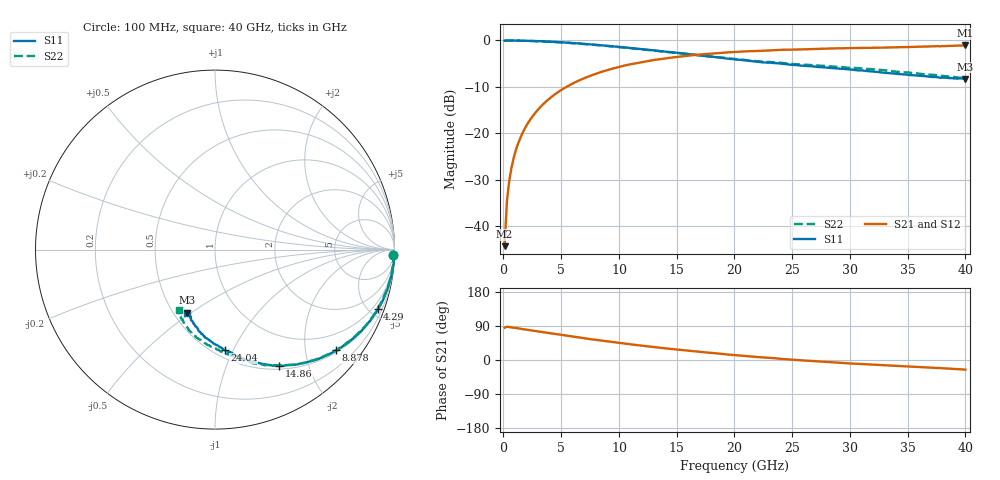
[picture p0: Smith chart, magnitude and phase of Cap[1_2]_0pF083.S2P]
!  2-Port S-parameters saved by WinCal
! VAR NAME=Cap[1_2]_0pF083
! VAR FILENAME=Cap[1_2]_0pF083.S2P
! VAR DATE=2/4/2010 3:24:30 PM
! VAR PHYS_PORTS=1,2
! VAR ObjTypeName=DATASETasd
! VAR IndexType=Frequency
# Hz S MA R 50
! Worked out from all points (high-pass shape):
!   201 points, 100 MHz to 40 GHz, reference 50 ohm
!   highest |S21| = -1.08 dB at 40 GHz (marker M1); lowest = -44.3 dB at 100 MHz (marker M2)
!   |S21| within 3 dB of the highest: 13.4 GHz to end of sweep
!   lowest |S11| = -8.3 dB at 40 GHz (marker M3), VSWR 2.25, Z = 29.1 - j24 ohm
!   |S11| at or under -10 dB: nowhere
!   |S22| runs from -8.1 to 0.0 dB; largest |S21 - S12| = 0.026
!   S11 on the Smith chart (normalised r, x): 100 MHz: 12, -60; 4.29 GHz: 0.56, -5.57; 8.878 GHz: 0.55, -2.66; 14.86 GHz: 0.54, -1.56; 24.04 GHz: 0.57, -0.92; 40 GHz: 0.58, -0.48
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1e8  0.9934 -1.8  0.006124 85.2  0.006306 88.9  0.9926 -1.7
2.995e8  0.9993 -1.4  0.01854 87.8  0.01857 87.8  0.9974 -1.5
4.99e8  0.998 -2.4  0.03072 87.0  0.03081 87.0  0.9965 -2.5
6.985e8  0.9984 -3.3  0.04299 86.1  0.04306 86.1  0.9962 -3.4
1.0975e9  0.9972 -5.2  0.06755 84.3  0.06758 84.4  0.9951 -5.3
1.696e9  0.9941 -8.1  0.1036 81.4  0.1037 81.5  0.9921 -8.2
2.2945e9  0.989 -10.9  0.1393 78.6  0.1394 78.6  0.9869 -11.1
3.292e9  0.9796 -15.6  0.1978 74.0  0.1979 73.9  0.9762 -15.8
4.2895e9  0.9657 -20.2  0.2542 69.4  0.2541 69.3  0.9618 -20.4
5.4865e9  0.9467 -25.5  0.318 64.1  0.3181 63.9  0.9442 -25.8
6.883e9  0.9211 -31.6  0.3872 57.9  0.3875 57.8  0.9168 -32.0
8.878e9  0.8771 -39.8  0.475 49.6  0.4755 49.5  0.8736 -40.2
1.10725e10  0.8281 -48.2  0.5559 41.0  0.555 40.8  0.823 -48.6
1.34665e10  0.7701 -56.4  0.6267 32.6  0.6265 32.3  0.7675 -56.8
1.4863e10  0.7405 -61.0  0.6611 28.0  0.6585 28.1  0.7357 -61.2
1.66585e10  0.6969 -66.5  0.7001 22.5  0.6982 22.3  0.7 -66.9
2.005e10  0.6243 -75.7  0.7506 12.9  0.7502 12.4  0.632 -76.3
2.404e10  0.5609 -84.5  0.7924 2.8  0.7903 3.0  0.5741 -85.9
2.6833e10  0.5256 -90.5  0.8076 -2.7  0.8066 -2.7  0.5429 -92.1
3.34165e10  0.4437 -103.5  0.8403 -14.5  0.8373 -15.5  0.4727 -108.1
3.8005e10  0.3977 -110.5  0.8692 -21.8  0.8637 -23.0  0.4159 -118.3
4e10  0.3852 -114.1  0.8829 -25.3  0.8784 -26.4  0.3923 -121.0
